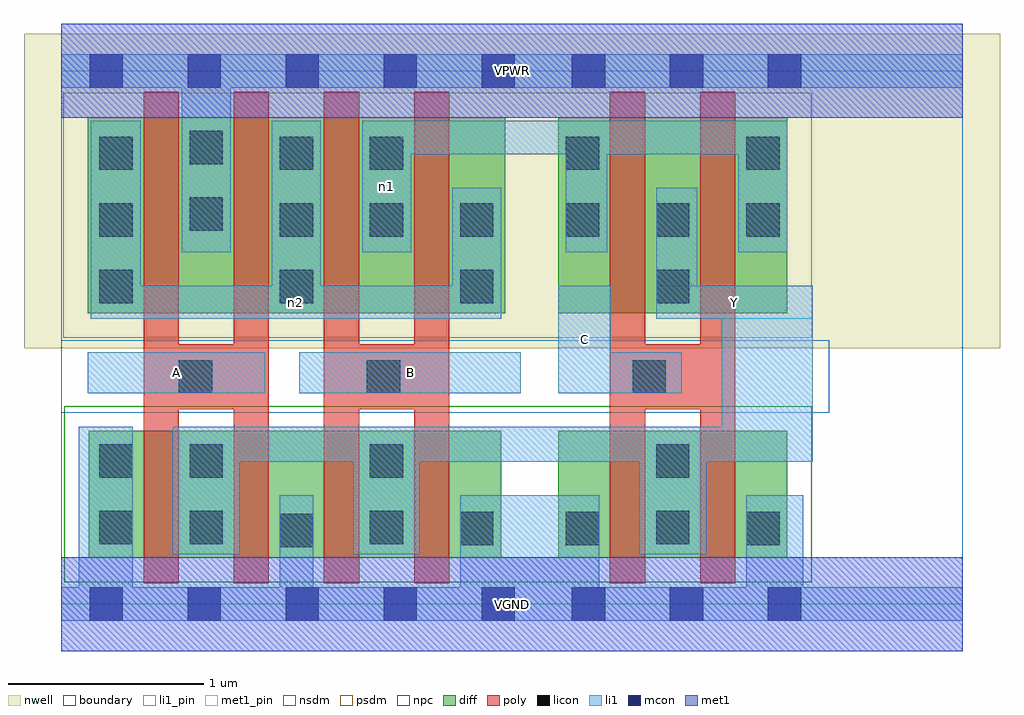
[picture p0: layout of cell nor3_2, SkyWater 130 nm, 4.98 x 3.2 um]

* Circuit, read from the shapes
.subckt nor3_2 A B C VGND VPWR Y n1 n2
XM1 Y A VGND VSUBS sky130_fd_pr__nfet_01v8 w=0.65 l=0.18 m=2
XM2 Y B VGND VSUBS sky130_fd_pr__nfet_01v8 w=0.65 l=0.18 m=2
XM3 Y C VGND VSUBS sky130_fd_pr__nfet_01v8 w=0.65 l=0.18 m=2
XM4 VPWR A n2 n3 sky130_fd_pr__pfet_01v8 w=1 l=0.18 m=2
XM5 n1 B n2 n3 sky130_fd_pr__pfet_01v8 w=1 l=0.18 m=2
XM6 Y C n1 n3 sky130_fd_pr__pfet_01v8 w=1 l=0.18 m=2
.ends

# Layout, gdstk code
import gdstk
lib = gdstk.Library(unit=1e-6, precision=1e-09)
def R(c, l, rs):  # rectangles x0, y0, x1, y1
    for r in rs: c.add(gdstk.rectangle(r[:2], r[2:], *l))
def A(c, l, x, y, w, h, nx, ny, dx, dy):  # array of equal rectangles
    R(c, l, [(x+i*dx, y+j*dy, x+i*dx+w, y+j*dy+h) for i in range(nx) for j in range(ny)])
nwell = (64, 20)
diff = (65, 20)
poly = (66, 20)
licon = (66, 44)
li1_pin = (67, 16)
li1 = (67, 20)
mcon = (67, 44)
met1_pin = (68, 16)
met1 = (68, 20)
nsdm = (93, 44)
psdm = (94, 20)
npc = (95, 20)
boundary = (235, 4)

nor3_2 = lib.new_cell('nor3_2')
R(nor3_2, nwell, [(-0.19,1.305,4.79,2.91), (0,1.305,4.6,2.91)])
R(nor3_2, diff, [(0.14,0.235,2.245,0.885), (2.535,0.235,3.705,0.885), (0.135,1.485,2.265,2.485), (2.535,1.485,3.705,2.485)])
A(nor3_2, poly, 0.42, 0.105, 0.18, 2.51, 4, 1, 0.46, 0)
R(nor3_2, poly, [(2.8,0.105,2.98,2.615), (3.26,0.105,3.44,2.615), (0.42,0.995,1.06,1.325), (1.34,0.995,1.98,1.325), (2.8,0.995,3.44,1.325)])
A(nor3_2, licon, 0.195, 1.535, 0.17, 0.17, 3, 1, 0.92, 0)
A(nor3_2, licon, 1.115, 1.875, 0.17, 0.17, 3, 1, 0.46, 0)
A(nor3_2, licon, 2.575, 1.875, 0.17, 0.17, 3, 1, 0.46, 0)
R(nor3_2, licon, [(1.115,0.29,1.285,0.46), (2.035,0.3,2.205,0.47), (2.575,0.3,2.745,0.47), (3.495,0.3,3.665,0.47), (0.195,0.305,0.365,0.475), (0.655,0.305,0.825,0.475), (1.575,0.305,1.745,0.475), (3.035,0.305,3.205,0.475), (0.195,0.645,0.365,0.815), (0.655,0.645,0.825,0.815), (1.575,0.645,1.745,0.815), (3.035,0.645,3.205,0.815), (0.6,1.075,0.77,1.245), (1.56,1.075,1.73,1.245), (2.915,1.075,3.085,1.245), (3.035,1.535,3.205,1.705), (0.195,1.875,0.365,2.045), (0.655,1.905,0.825,2.075), (0.195,2.215,0.365,2.385), (1.115,2.215,1.285,2.385), (1.575,2.215,1.745,2.385), (2.575,2.215,2.745,2.385), (3.495,2.215,3.665,2.385), (0.655,2.245,0.825,2.415)])
R(nor3_2, li1_pin, [(0.135,1.075,1.04,1.285), (1.215,1.075,2.345,1.285), (2.535,1.075,2.805,1.625), (3.035,1.455,3.835,1.625)])
R(nor3_2, li1, [(0,-0.085,4.6,0.085), (0.09,-0.085,0.365,0.905), (1.115,-0.085,1.285,0.555), (2.035,-0.085,2.745,0.555), (3.495,-0.085,3.785,0.555), (0.57,0.255,0.91,0.905), (1.49,0.255,1.83,0.905), (2.95,0.255,3.29,0.905), (0.57,0.725,3.835,0.905), (3.37,0.725,3.835,1.625), (0.135,1.075,1.04,1.285), (1.215,1.075,2.345,1.285), (2.535,1.075,2.805,1.625), (2.535,1.075,3.165,1.285), (0.15,1.455,2.245,1.625), (0.15,1.455,0.405,2.465), (1.075,1.455,1.325,2.465), (1.995,1.455,2.245,2.125), (3.035,1.455,3.245,2.125), (3.035,1.455,3.835,1.625), (0.615,1.795,0.865,2.805), (1.535,1.795,1.785,2.465), (2.575,1.795,2.785,2.465), (3.455,1.795,3.705,2.465), (1.535,2.295,3.705,2.465), (0,2.635,4.6,2.805)])
A(nor3_2, mcon, 0.145, -0.085, 0.17, 0.17, 5, 2, 0.5, 2.72)
A(nor3_2, mcon, 2.605, -0.085, 0.17, 0.17, 3, 2, 0.5, 2.72)
R(nor3_2, met1_pin, [(0,-0.24,4.6,0.24), (0,2.48,4.6,2.96)])
R(nor3_2, met1, [(0,-0.24,4.6,0.24), (0,2.48,4.6,2.96)])
R(nor3_2, nsdm, [(0.015,0.11,3.83,1.01)])
R(nor3_2, psdm, [(0.01,1.36,3.83,2.61)])
R(nor3_2, npc, [(0,0.975,3.92,1.345)])
R(nor3_2, boundary, [(0,0,4.6,2.72)])
nor3_2.add(gdstk.Label('A', (0.587,1.18), layer=67, texttype=5))
nor3_2.add(gdstk.Label('B', (1.78,1.18), layer=67, texttype=5))
nor3_2.add(gdstk.Label('C', (2.67,1.35), layer=67, texttype=5))
nor3_2.add(gdstk.Label('Y', (3.435,1.54), layer=67, texttype=5))
nor3_2.add(gdstk.Label('n2', (1.197,1.54), layer=67, texttype=5))
nor3_2.add(gdstk.Label('n1', (1.66,2.13), layer=67, texttype=5))
nor3_2.add(gdstk.Label('VPWR', (2.3,2.72), layer=68, texttype=5))
nor3_2.add(gdstk.Label('VGND', (2.3,0), layer=68, texttype=5))
nor3_2.add(gdstk.Label('A', (0.587,1.18), layer=67, texttype=16))
nor3_2.add(gdstk.Label('B', (1.78,1.18), layer=67, texttype=16))
nor3_2.add(gdstk.Label('C', (2.67,1.35), layer=67, texttype=16))
nor3_2.add(gdstk.Label('Y', (3.435,1.54), layer=67, texttype=16))
nor3_2.add(gdstk.Label('VPWR', (2.3,2.72), layer=68, texttype=16))
nor3_2.add(gdstk.Label('VGND', (2.3,0), layer=68, texttype=16))

lib.write_gds('nor3_2.gds')
